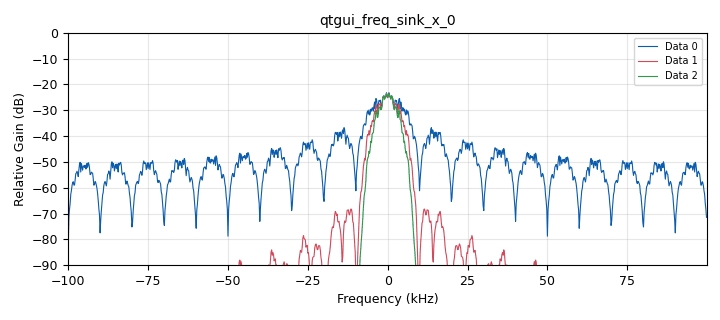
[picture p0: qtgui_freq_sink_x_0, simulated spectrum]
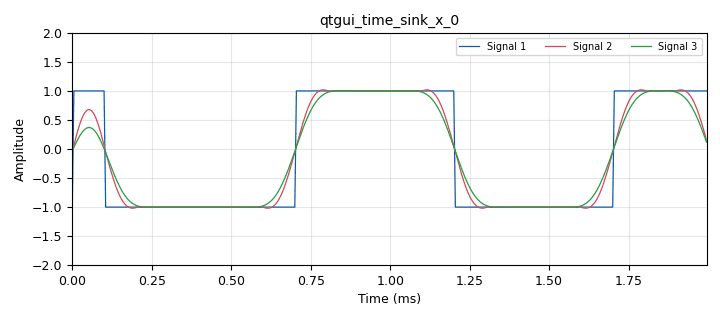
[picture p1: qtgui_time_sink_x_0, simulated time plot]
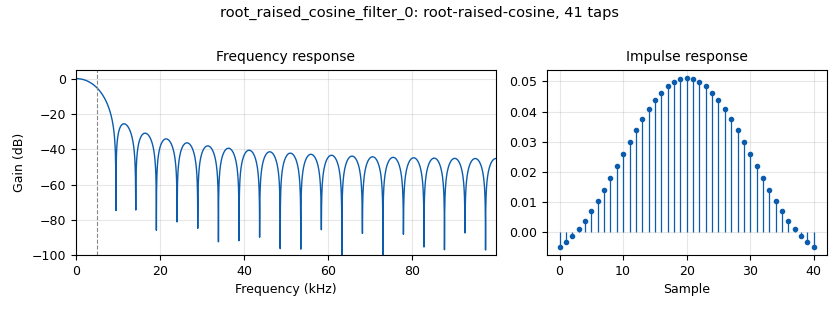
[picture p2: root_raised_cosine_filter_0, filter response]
options:
  parameters:
    author: Marcelo Doallo
    category: Custom
    description: IQ_tutorial_QPSK
    generate_options: qt_gui
    id: Demo_BPSK
    output_language: python
    title: BPSK Demo
  states: {}

blocks:
- name: Alpha
  id: variable
  parameters:
    value: '0.5'
  states: {}
- name: bit_rate
  id: variable
  parameters:
    value: '10000'
  states: {}
- name: samp_rate
  id: variable
  parameters:
    value: bit_rate*sample_per_bit
  states: {}
- name: sample_per_bit
  id: variable
  parameters:
    value: '20'
  states: {}
- name: taps
  id: variable
  parameters:
    value: sample_per_bit*2
  states: {}
- name: analog_random_source_x_0
  id: analog_random_source_x
  parameters:
    max: '2'
    min: '0'
    num_samps: '1000'
    repeat: 'True'
    type: byte
  states: {}
- name: blocks_add_const_vxx_0
  id: blocks_add_const_vxx
  parameters:
    const: '-1'
    type: float
  states: {}
- name: blocks_char_to_float_0
  id: blocks_char_to_float
  parameters:
    scale: '.5'
  states: {}
- name: blocks_delay_0
  id: blocks_delay
  parameters:
    delay: '40'
    type: float
  states: {}
- name: blocks_delay_0_0
  id: blocks_delay
  parameters:
    delay: '20'
    type: float
  states: {}
- name: blocks_repeat_0
  id: blocks_repeat
  parameters:
    interp: sample_per_bit
    type: float
  states: {}
- name: blocks_throttle_0
  id: blocks_throttle
  parameters:
    samples_per_second: samp_rate
    type: float
  states: {}
- name: qtgui_freq_sink_x_0
  id: qtgui_freq_sink_x
  parameters:
    average: '0.05'
    bw: samp_rate
    ctrlpanel: 'True'
    fc: '0'
    fftsize: '1024'
    gui_hint: tab@1:0,0,1,1
    nconnections: '3'
    type: float
    ymax: '0'
    ymin: '-90'
  states: {}
- name: qtgui_time_sink_x_0
  id: qtgui_time_sink_x
  parameters:
    ctrlpanel: 'True'
    gui_hint: tab@0:0,0,1,1
    nconnections: '3'
    size: sample_per_bit*20
    srate: samp_rate
    tr_mode: qtgui.TRIG_MODE_AUTO
    type: float
    ymax: '2'
    ymin: '-2'
  states: {}
- name: root_raised_cosine_filter_0
  id: root_raised_cosine_filter
  parameters:
    alpha: Alpha
    gain: '1'
    interp: '1'
    ntaps: taps
    samp_rate: samp_rate
    sym_rate: bit_rate
    type: interp_fir_filter_fff
  states: {}
- name: root_raised_cosine_filter_0_0
  id: root_raised_cosine_filter
  parameters:
    alpha: Alpha
    decim: '1'
    gain: '1'
    ntaps: taps
    samp_rate: samp_rate
    sym_rate: bit_rate
    type: fir_filter_fff
  states: {}
- name: tab
  id: qtgui_tab_widget
  parameters:
    gui_hint: 0,0,5,5
    label0: Tiempo
    label1: Espectro
    num_tabs: '2'
  states: {}
- name: virtual_sink_0
  id: virtual_sink
  parameters:
    stream_id: sigue
  states: {}
- name: virtual_sink_0_0
  id: virtual_sink
  parameters:
    stream_id: Tx
  states: {}
- name: virtual_source_0
  id: virtual_source
  parameters:
    stream_id: sigue
  states: {}
- name: virtual_source_0_0
  id: virtual_source
  parameters:
    stream_id: sigue
  states: {}
- name: virtual_source_0_0_0
  id: virtual_source
  parameters:
    stream_id: sigue
  states: {}
- name: virtual_source_0_0_1
  id: virtual_source
  parameters:
    stream_id: Tx
  states: {}

connections:
- [analog_random_source_x_0, '0', blocks_char_to_float_0, '0']
- [blocks_add_const_vxx_0, '0', blocks_repeat_0, '0']
- [blocks_char_to_float_0, '0', blocks_add_const_vxx_0, '0']
- [blocks_delay_0, '0', qtgui_time_sink_x_0, '0']
- [blocks_delay_0_0, '0', qtgui_time_sink_x_0, '1']
- [blocks_repeat_0, '0', blocks_throttle_0, '0']
- [blocks_repeat_0, '0', virtual_sink_0, '0']
- [root_raised_cosine_filter_0, '0', blocks_delay_0_0, '0']
- [root_raised_cosine_filter_0, '0', root_raised_cosine_filter_0_0, '0']
- [root_raised_cosine_filter_0, '0', virtual_sink_0_0, '0']
- [root_raised_cosine_filter_0_0, '0', qtgui_freq_sink_x_0, '2']
- [root_raised_cosine_filter_0_0, '0', qtgui_time_sink_x_0, '2']
- [virtual_source_0, '0', root_raised_cosine_filter_0, '0']
- [virtual_source_0_0, '0', qtgui_freq_sink_x_0, '0']
- [virtual_source_0_0_0, '0', blocks_delay_0, '0']
- [virtual_source_0_0_1, '0', qtgui_freq_sink_x_0, '1']

metadata:
  file_format: 1
  grc_version: 3.10.12.0
